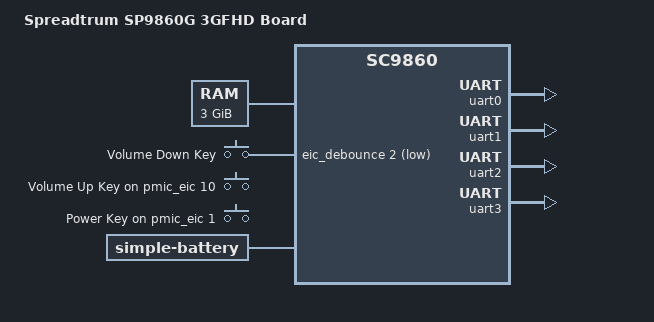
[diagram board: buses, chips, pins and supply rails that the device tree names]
/*
 * Spreadtrum SP9860g board
 *
 * Copyright (C) 2017, Spreadtrum Communications Inc.
 *
 * SPDX-License-Identifier: (GPL-2.0+ OR MIT)
 */

/dts-v1/;

#include "sc9860.dtsi"
#include "sc2731.dtsi"

/ {
	model = "Spreadtrum SP9860G 3GFHD Board";

	compatible = "sprd,sp9860g-1h10", "sprd,sc9860";

	aliases {
		serial0 = &uart0; /* for Bluetooth */
		serial1 = &uart1; /* UART console */
		serial2 = &uart2; /* Reserved */
		serial3 = &uart3; /* for GPS */
		spi0 = &adi_bus;
	};

	memory@80000000 {
		device_type = "memory";
		reg = <0x0 0x80000000 0 0x60000000>,
		      <0x1 0x80000000 0 0x60000000>;
	};

	chosen {
		stdout-path = "serial1:115200n8";
	};

	gpio-keys {
		compatible = "gpio-keys";

		key-volumedown {
			label = "Volume Down Key";
			linux,code = <KEY_VOLUMEDOWN>;
			gpios = <&eic_debounce 2 GPIO_ACTIVE_LOW>;
			debounce-interval = <2>;
			wakeup-source;
		};

		key-volumeup {
			label = "Volume Up Key";
			linux,code = <KEY_VOLUMEUP>;
			gpios = <&pmic_eic 10 GPIO_ACTIVE_HIGH>;
			debounce-interval = <2>;
			wakeup-source;
		};

		key-power {
			label = "Power Key";
			linux,code = <KEY_POWER>;
			gpios = <&pmic_eic 1 GPIO_ACTIVE_HIGH>;
			debounce-interval = <2>;
			wakeup-source;
		};
	};

	reserved-memory {
		#address-cells = <2>;
		#size-cells = <2>;
		ranges;
	};

	bat: battery {
		compatible = "simple-battery";
		charge-full-design-microamp-hours = <1900000>;
		charge-term-current-microamp = <120000>;
		constant_charge_voltage_max_microvolt = <4350000>;
		internal-resistance-micro-ohms = <250000>;
		ocv-capacity-celsius = <20>;
		ocv-capacity-table-0 = <4185000 100>, <4113000 95>, <4066000 90>,
			<4022000 85>, <3983000 80>, <3949000 75>,
			<3917000 70>, <3889000 65>, <3864000 60>,
			<3835000 55>, <3805000 50>, <3787000 45>,
			<3777000 40>, <3773000 35>, <3770000 30>,
			<3765000 25>, <3752000 20>, <3724000 15>,
			<3680000 10>, <3605000 5>, <3400000 0>;
	};
};

&uart0 {
	status = "okay";
};

&uart1 {
	status = "okay";
};

&uart2 {
	status = "okay";
};

&uart3 {
	status = "okay";
};
